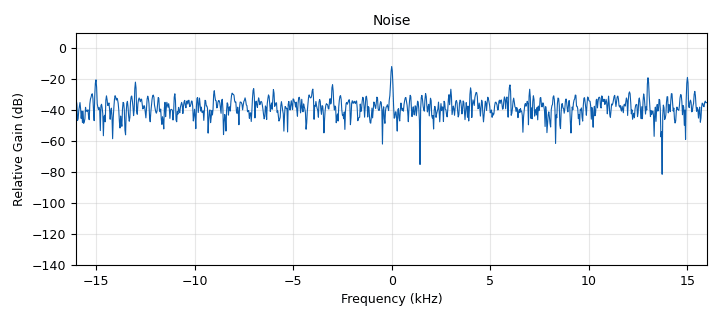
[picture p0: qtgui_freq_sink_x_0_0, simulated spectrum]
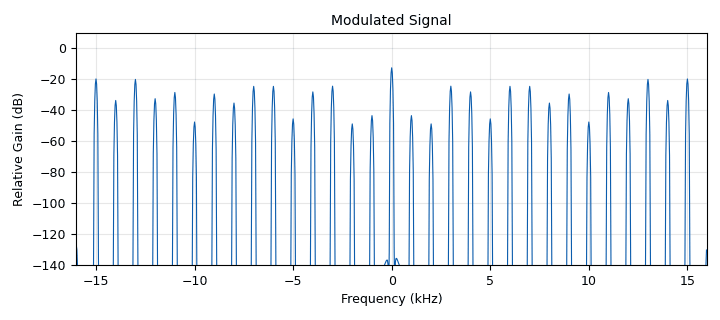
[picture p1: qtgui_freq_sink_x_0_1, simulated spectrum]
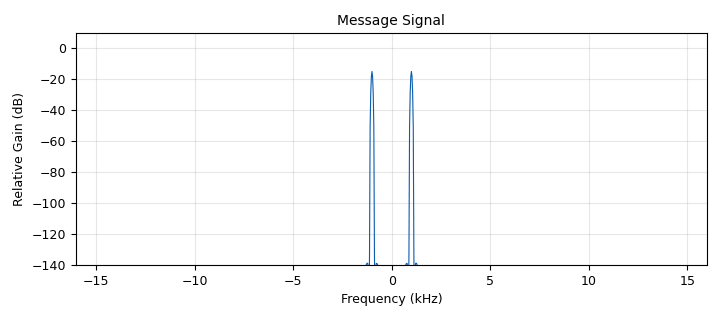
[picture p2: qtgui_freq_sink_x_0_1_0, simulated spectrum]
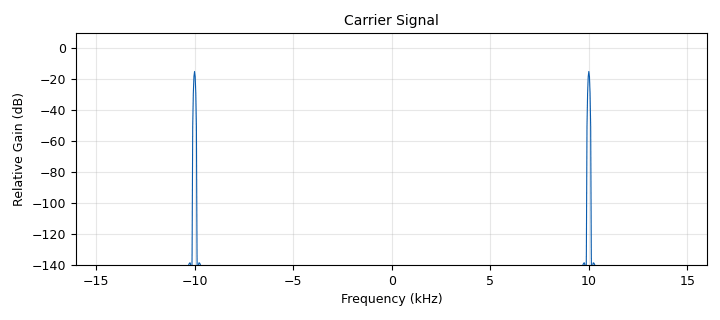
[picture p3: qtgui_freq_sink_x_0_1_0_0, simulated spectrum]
options:
  parameters:
    author: Eman Malik
    generate_options: qt_gui
    id: Initial
    output_language: python
    title: Not titled yet
  states: {}

blocks:
- name: samp_rate
  id: variable
  parameters:
    value: '32000'
  states: {}
- name: analog_frequency_modulator_fc_0
  id: analog_frequency_modulator_fc
  parameters:
    sensitivity: '314.16'
  states: {}
- name: analog_noise_source_x_0
  id: analog_noise_source_x
  parameters:
    amp: '1'
    noise_type: analog.GR_GAUSSIAN
    seed: '0'
    type: complex
  states: {}
- name: analog_sig_source_x_0
  id: analog_sig_source_x
  parameters:
    amp: '1'
    freq: '1000'
    offset: '0'
    phase: '0'
    samp_rate: samp_rate
    type: float
    waveform: analog.GR_SIN_WAVE
  states: {}
- name: analog_sig_source_x_0_0
  id: analog_sig_source_x
  parameters:
    amp: '1'
    freq: '10000'
    offset: '0'
    phase: '0'
    samp_rate: samp_rate
    type: float
    waveform: analog.GR_COS_WAVE
  states: {}
- name: blocks_add_xx_0
  id: blocks_add_xx
  parameters:
    type: complex
  states: {}
- name: blocks_throttle2_0
  id: blocks_throttle2
  parameters:
    samples_per_second: samp_rate
    type: float
  states: {}
- name: qtgui_freq_sink_x_0_0
  id: qtgui_freq_sink_x
  parameters:
    bw: samp_rate
    fc: '0'
    fftsize: '1024'
    name: '"Noise"'
    type: complex
  states: {}
- name: qtgui_freq_sink_x_0_1
  id: qtgui_freq_sink_x
  parameters:
    bw: samp_rate
    fc: '0'
    fftsize: '1024'
    name: '"Modulated Signal"'
    type: complex
  states: {}
- name: qtgui_freq_sink_x_0_1_0
  id: qtgui_freq_sink_x
  parameters:
    bw: samp_rate
    fc: '0'
    fftsize: '1024'
    name: '"Message Signal"'
    type: float
  states: {}
- name: qtgui_freq_sink_x_0_1_0_0
  id: qtgui_freq_sink_x
  parameters:
    bw: samp_rate
    fc: '0'
    fftsize: '1024'
    name: '"Carrier Signal"'
    type: float
  states: {}

connections:
- [analog_frequency_modulator_fc_0, '0', blocks_add_xx_0, '0']
- [analog_frequency_modulator_fc_0, '0', qtgui_freq_sink_x_0_1, '0']
- [analog_noise_source_x_0, '0', blocks_add_xx_0, '1']
- [analog_sig_source_x_0, '0', blocks_throttle2_0, '0']
- [analog_sig_source_x_0, '0', qtgui_freq_sink_x_0_1_0, '0']
- [analog_sig_source_x_0_0, '0', qtgui_freq_sink_x_0_1_0_0, '0']
- [blocks_add_xx_0, '0', qtgui_freq_sink_x_0_0, '0']
- [blocks_throttle2_0, '0', analog_frequency_modulator_fc_0, '0']

metadata:
  file_format: 1
  grc_version: 3.10.10.0
